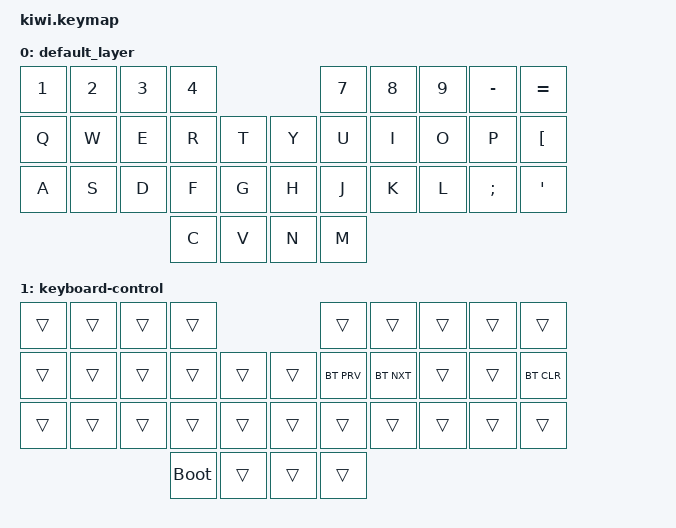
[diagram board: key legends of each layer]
#include <behaviors.dtsi>
#include <dt-bindings/zmk/bt.h>
#include <dt-bindings/zmk/keys.h>

/ {
    combos {
        compatible = "zmk,combos";

        combo_keyboard_control {
            bindings = <&sl 1>;
            key-positions = <13 24 14 25>;
            require-prior-idle-ms = <1000>;
            timeout-ms = <200>;
            layers = <0>;
        };
    };

    keymap {
        compatible = "zmk,keymap";

        default_layer {
            bindings = <
  &kp N1  &kp N2  &kp N3  &kp N4                  &kp N7  &kp N8  &kp N9  &kp MINUS  &kp EQUAL
  &kp Q   &kp W   &kp E   &kp R   &kp T    &kp Y  &kp U   &kp I   &kp O   &kp P      &kp LBKT
  &kp A   &kp S   &kp D   &kp F   &kp G    &kp H  &kp J   &kp K   &kp L   &kp SEMI   &kp APOS
                          &kp C   &kp V    &kp N  &kp M
            >;
        };

        keyboard-control {
            bindings = <
  &trans  &trans  &trans  &trans                         &trans      &trans      &trans  &trans  &trans
  &trans  &trans  &trans  &trans       &trans    &trans  &bt BT_PRV  &bt BT_NXT  &trans  &trans  &bt BT_CLR
  &trans  &trans  &trans  &trans       &trans    &trans  &trans      &trans      &trans  &trans  &trans
                          &bootloader  &trans    &trans  &trans
            >;
        };
    };
};
